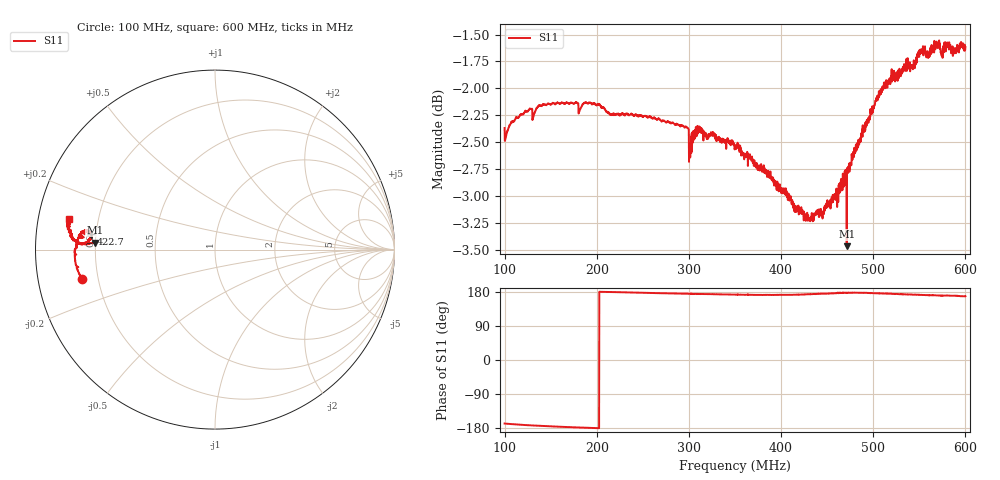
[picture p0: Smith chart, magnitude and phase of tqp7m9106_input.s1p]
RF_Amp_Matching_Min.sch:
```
<Qucs Schematic 24.3.2>
<Properties>
  <View=-149,-616,2073,850,1.15636,268,254>
  <Grid=10,10,1>
  <DataSet=RF_Amp_Matching_Min.dat>
  <DataDisplay=RF_Amp_Matching_Min.dpl>
  <OpenDisplay=1>
  <Script=RF_Amp_Matching_Min.m>
  <RunScript=0>
  <showFrame=0>
  <FrameText0=Title>
  <FrameText1=Drawn By:>
  <FrameText2=Date:>
  <FrameText3=Revision:>
</Properties>
<Symbol>
  <.ID -20 -16 SUB>
  <Line -20 20 40 0 #000080 2 1>
  <Line 20 20 0 -40 #000080 2 1>
  <Line -20 -20 40 0 #000080 2 1>
  <Line -20 20 0 -40 #000080 2 1>
</Symbol>
<Components>
  <GND * 5 270 430 0 0 0 0>
  <Pac P1 5 270 400 17 -7 0 1 "1" 0 "50 Ohm" 1 "0 dBm" 0 "1 GHz" 0 "26.85" 0 "true" 0>
  <.DC DC1 5 590 -160 0 36 0 0 "26.85" 0 "0.001" 0 "1 pA" 0 "1 uV" 0 "no" 0 "150" 0 "no" 0 "none" 0 "CroutLU" 0>
  <.AC AC1 1 430 -160 0 36 0 0 "log" 0 "300 MHz" 1 "600 MHz" 1 "10000" 0 "yes" 1>
  <.SP SP1 1 280 -160 0 60 0 0 "lin" 0 "300 MHz" 1 "600 MHz" 1 "10000" 0 "yes" 1 "1" 1 "2" 0 "no" 0 "no" 0>
  <GND * 5 1130 360 0 0 0 0>
  <SPfile X2 1 1130 330 -26 -57 0 0 "tqp7m9106_input.s1p" 1 "polar" 0 "linear" 0 "open" 0 "1" 0>
  <GND * 5 1640 400 0 0 0 0>
  <Pac P2 5 1640 370 17 -7 0 1 "2" 0 "50 Ohm" 1 "0 dBm" 0 "1 GHz" 0 "26.85" 0 "true" 0>
  <GND * 1 1540 410 0 0 0 0>
  <R R1 1 1540 380 15 -26 0 1 "50Ohm" 1 "26.85" 0 "0.0" 0 "0.0" 0 "26.85" 0 "european" 0>
  <NutmegEq NutmegEq1 1 330 60 -28 16 0 0 "SP1" 1 "Input_RL=dB(s_1_1)" 1>
  <GND * 1 870 450 0 0 0 0>
  <L L1 1 950 330 -26 10 0 0 "6nH" 1 "" 0>
  <C C1 1 870 420 15 -20 0 1 "15pF" 1 "" 0 "neutral" 0>
</Components>
<Wires>
  <1540 290 1540 350 "" 0 0 0 "">
  <1540 290 1640 290 "" 0 0 0 "">
  <1640 290 1640 340 "" 0 0 0 "">
  <870 330 870 390 "" 0 0 0 "">
  <870 330 920 330 "" 0 0 0 "">
  <980 330 1100 330 "" 0 0 0 "">
  <270 330 870 330 "" 0 0 0 "">
  <270 330 270 370 "" 0 0 0 "">
  <270 370 270 370 "Vin" 300 340 0 "">
  <1640 340 1640 340 "Vout" 1670 310 0 "">
</Wires>
<Diagrams>
</Diagrams>
<Paintings>
  <Text 280 -210 12 #000000 0 "TX path of the STS1 COBC UHF transceiver, not including the Si4463 and it's matching according to AN648.">
</Paintings>
```
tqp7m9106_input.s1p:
# Hz S RI R 50
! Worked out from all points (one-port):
!   2020 points, 100 MHz to 600 MHz, reference 50 ohm
!   lowest |S11| = -3.5 dB at 471.2 MHz (marker M1), VSWR 5.07, Z = 9.86 + j1.39 ohm
!   |S11| at or under -10 dB: nowhere
!   S11 on the Smith chart (normalised r, x): 100 MHz: 0.14, -0.11; 422.7 MHz: 0.18, +0.06; 600 MHz: 0.09, +0.10
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1e8  -0.7436 -0.1629
1.272412e8  -0.77 -0.1035
1.770183e8  -0.7819 -0.0305
2.087172e8  -0.7764 0.00728
2.669143e8  -0.7674 0.0482
3.592868e8  -0.7326 0.1004
3.90738e8  -0.7119 0.106
4.226845e8  -0.6916 0.0887
4.33581e8  -0.6867 0.0739
4.712234e8  -0.6696 0.0388
4.920258e8  -0.765 0.0357
5.180287e8  -0.8001 0.0675
5.536899e8  -0.8175 0.1188
6e8  -0.813 0.1678
